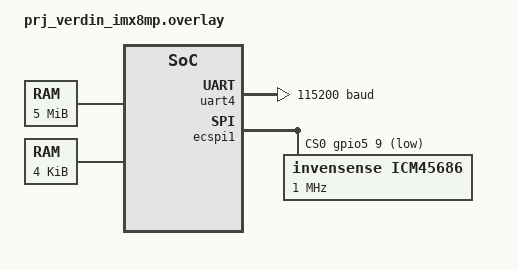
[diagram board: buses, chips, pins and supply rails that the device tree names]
/*
This overlay is based on:
hmp_mcuxpresso-zephyr/sources/rpmsg-lite/zephyr/samples/rpmsglite_pingpong/remote/boards/mimxrt1160_evk_mimxrt1166_cm4.overlay
hmp_mcuxpresso-zephyr/zephyr/samples/subsys/ipc/openamp_rsc_table/boards/imx8mp_evk_mimx8ml8_m7.overlay
*/

#include <zephyr/dt-bindings/sensor/icm45686.h>
#include <zephyr/dt-bindings/gpio/gpio.h>

/ {
    chosen {
        zephyr,ipc_shm = &shram;
        zephyr,ipc = &mailbox0;
		zephyr,ipc_rsc_table = &rsc_table;
		zephyr,console = &uart4;
    };

    shram: memory@55000000 {
        compatible = "mmio-sram";
        reg = <0x55000000 0x500000>;
    };

	rsc_table: memory@550ff000 {
		compatible = "mmio-sram";
		reg = <0x550ff000 0x1000>;
	};
};

&pinctrl {
    ecspi1_default: ecspi1_default {
        group0 {
            drive-strength = "x1";
            pinmux = <&iomuxc_ecspi1_sclk_ecspi_sclk_ecspi1_sclk>,
                     <&iomuxc_ecspi1_miso_ecspi_miso_ecspi1_miso>,
                     <&iomuxc_ecspi1_mosi_ecspi_mosi_ecspi1_mosi>;
            slew-rate = "slow";
        };
    };
};

&mailbox0 {
    status = "okay";
};

&uart4 {
	status = "okay";
	current-speed = <115200>;
};

&ecspi1 {
    status = "okay";
    pinctrl-0 = <&ecspi1_default>;
    pinctrl-names = "default";
    /* Hold CS across the driver's separate address/data bursts. */
    cs-gpios = <&gpio5 9 GPIO_ACTIVE_LOW>;

    icm45686: icm45686@0 {
        compatible = "invensense,icm45686";
        reg = <0>;
        spi-max-frequency = <1000000>;
        accel-pwr-mode = <ICM45686_DT_ACCEL_LN>;
        accel-fs = <ICM45686_DT_ACCEL_FS_4>;
        accel-odr = <ICM45686_DT_ACCEL_ODR_100>;
        gyro-pwr-mode = <ICM45686_DT_GYRO_LN>;
        gyro-fs = <ICM45686_DT_GYRO_FS_2000>;
        gyro-odr = <ICM45686_DT_GYRO_ODR_100>;
        status = "okay";
    };

};

&gpio5 {
    status = "okay";
};
